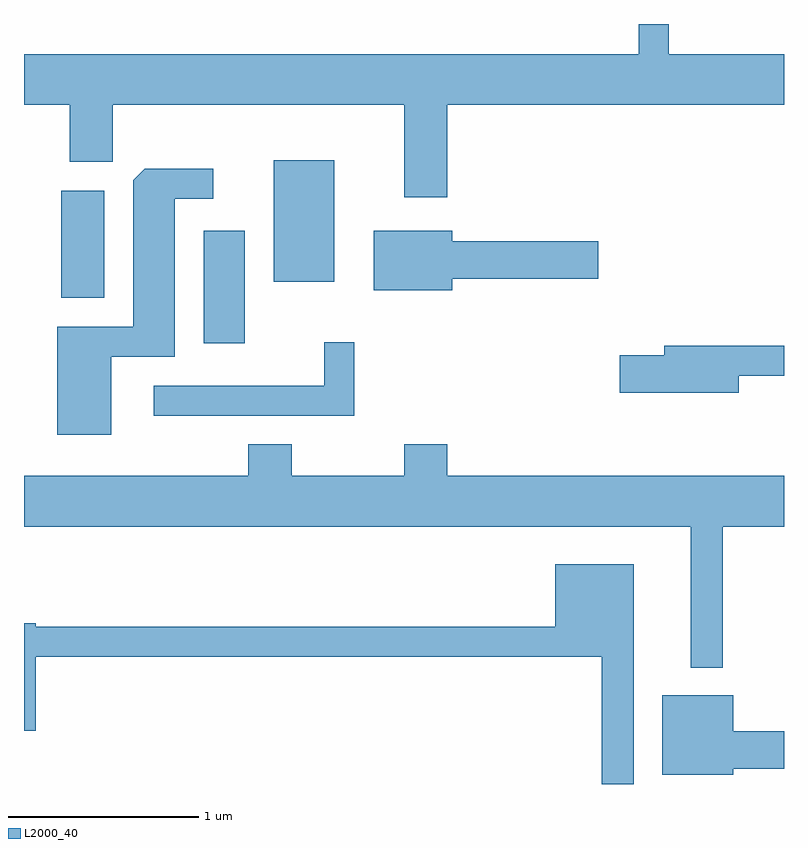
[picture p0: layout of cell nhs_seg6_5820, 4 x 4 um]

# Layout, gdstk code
import gdstk
lib = gdstk.Library(unit=1e-6, precision=1e-09)
def R(c, l, rs):  # rectangles x0, y0, x1, y1
    for r in rs: c.add(gdstk.rectangle(r[:2], r[2:], *l))
def P(c, l, *ps):  # polygons
    for p in ps: c.add(gdstk.Polygon(p, *l))
L2000_40 = (2000, 40)

nhs_seg6_5820 = lib.new_cell('nhs_seg6_5820')
R(nhs_seg6_5820, L2000_40, [(362.556,1626.481,362.774,1627.074), (361.806,1626.721,362.034,1627.284), (362.926,1626.806,363.244,1627.444)])
P(nhs_seg6_5820, L2000_40, [(363.839,1627.736),(365.611,1627.736),(365.611,1628.004),(365.004,1628.004),(365.004,1628.162),(364.846,1628.162),(364.846,1628.004),(361.611,1628.004),(361.611,1627.736),(361.851,1627.736),(361.851,1627.436),(362.079,1627.436),(362.079,1627.736),(363.611,1627.736),(363.611,1627.251),(363.839,1627.251)],
  [(362.069,1626.411),(362.404,1626.411),(362.404,1627.241),(362.608,1627.241),(362.608,1627.399),(362.247,1627.399),(362.186,1627.339),(362.186,1626.569),(361.786,1626.569),(361.786,1626.001),(362.069,1626.001)],
  [(363.864,1626.821),(364.634,1626.821),(364.634,1627.019),(363.864,1627.019),(363.864,1627.074),(363.451,1627.074),(363.451,1626.761),(363.864,1626.761)],
  [(363.349,1626.488),(363.191,1626.488),(363.191,1626.259),(362.293,1626.259),(362.293,1626.101),(363.349,1626.101)],
  [(365.374,1626.311),(365.611,1626.311),(365.611,1626.469),(364.981,1626.469),(364.981,1626.419),(364.746,1626.419),(364.746,1626.221),(365.374,1626.221)],
  [(363.611,1625.949),(363.611,1625.784),(363.019,1625.784),(363.019,1625.949),(362.791,1625.949),(362.791,1625.784),(361.611,1625.784),(361.611,1625.516),(365.121,1625.516),(365.121,1624.773),(365.289,1624.773),(365.289,1625.516),(365.611,1625.516),(365.611,1625.784),(363.839,1625.784),(363.839,1625.949)],
  [(364.819,1625.319),(364.406,1625.319),(364.406,1624.989),(361.674,1624.989),(361.674,1625.009),(361.611,1625.009),(361.611,1624.441),(361.674,1624.441),(361.674,1624.831),(364.651,1624.831),(364.651,1624.162),(364.819,1624.162)],
  [(365.344,1624.241),(365.611,1624.241),(365.611,1624.439),(365.344,1624.439),(365.344,1624.629),(364.971,1624.629),(364.971,1624.211),(365.344,1624.211)])

lib.write_gds('nhs_seg6_5820.gds')
